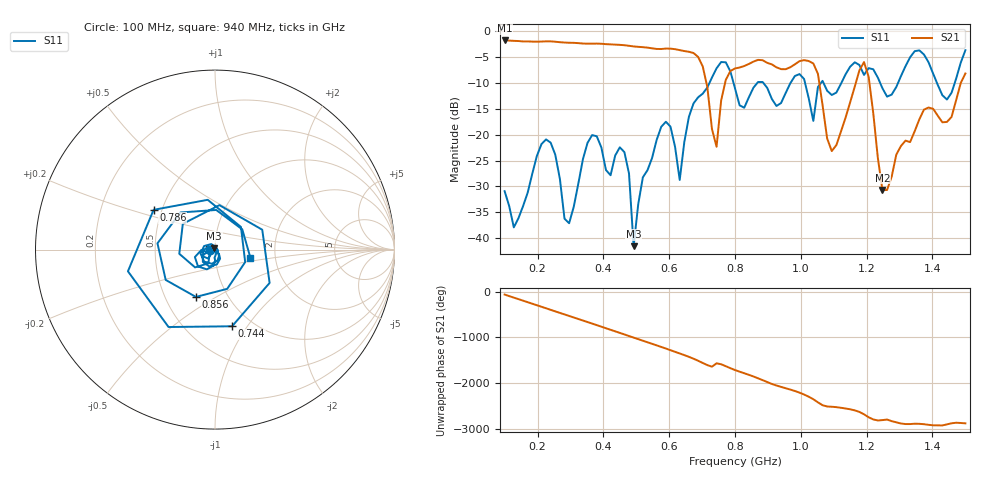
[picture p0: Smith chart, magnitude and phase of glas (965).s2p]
! NanoVNA-App
! Date: 2025-09-25 16:02:59
! Start: 100MHz Stop: 1,5GHz Points: 101
! S-Parameter data: F S11 S21 S12 S22
# Hz S RI R 50
!  Frequency  S11_Real  S11_Imag  S21_Real  S21_Imag  S12_Real  S12_Imag  S22_Real  S22_Imag
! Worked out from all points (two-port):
!   101 points, 100 MHz to 1.5 GHz, reference 50 ohm
!   highest |S21| = -1.80 dB at 100 MHz (marker M1); lowest = -30.7 dB at 1.248 GHz (marker M2)
!   |S21| within 3 dB of the highest: start of sweep to 684.6 MHz
!   lowest |S11| = -41.5 dB at 492 MHz (marker M3), VSWR 1.02, Z = 49.4 + j0.624 ohm
!   |S11| at or under -10 dB: start of sweep to 722.4 MHz; 795.5 MHz to 867.8 MHz (72.33 MHz wide, 8.7 % of centre); 886.1 MHz to 968.8 MHz (82.71 MHz wide, 8.92 % of centre) (the widest 3 of 7)
!   S12 and S22 are empty: the file has one direction only
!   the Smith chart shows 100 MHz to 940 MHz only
!   S11 on the Smith chart (normalised r, x): 100 MHz: 0.94, -0.01; 744 MHz: 0.81, -0.85; 786 MHz: 0.45, +0.24; 856 MHz: 0.71, -0.41; 940 MHz: 1.48, -0.14
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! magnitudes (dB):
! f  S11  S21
! 100 MHz  -30.9  -1.8
! 128 MHz  -37.9  -1.9
! 226 MHz  -20.9  -2.0
! 296 MHz  -37.1  -2.2
! 338 MHz  -24.7  -2.4
! 464 MHz  -23.4  -2.7
! 492 MHz  -41.5  -3.0
! 576 MHz  -18.5  -3.5
! 632 MHz  -28.8  -3.7
! 702 MHz  -12.1  -6.8
! 744 MHz  -7.2  -22.3
! 786 MHz  -7.8  -7.7
! 800 MHz  -11.0  -7.2
! 856 MHz  -10.9  -5.9
! 940 MHz  -13.9  -7.3
! 996 MHz  -8.3  -5.8
! 1.038 GHz  -17.3  -6.2
! 1.094 GHz  -12.3  -23.2
! 1.192 GHz  -8.5  -6.0
! 1.248 GHz  -11.0  -30.7
! 1.276 GHz  -12.3  -28.1
! 1.5 GHz  -3.7  -8.2
